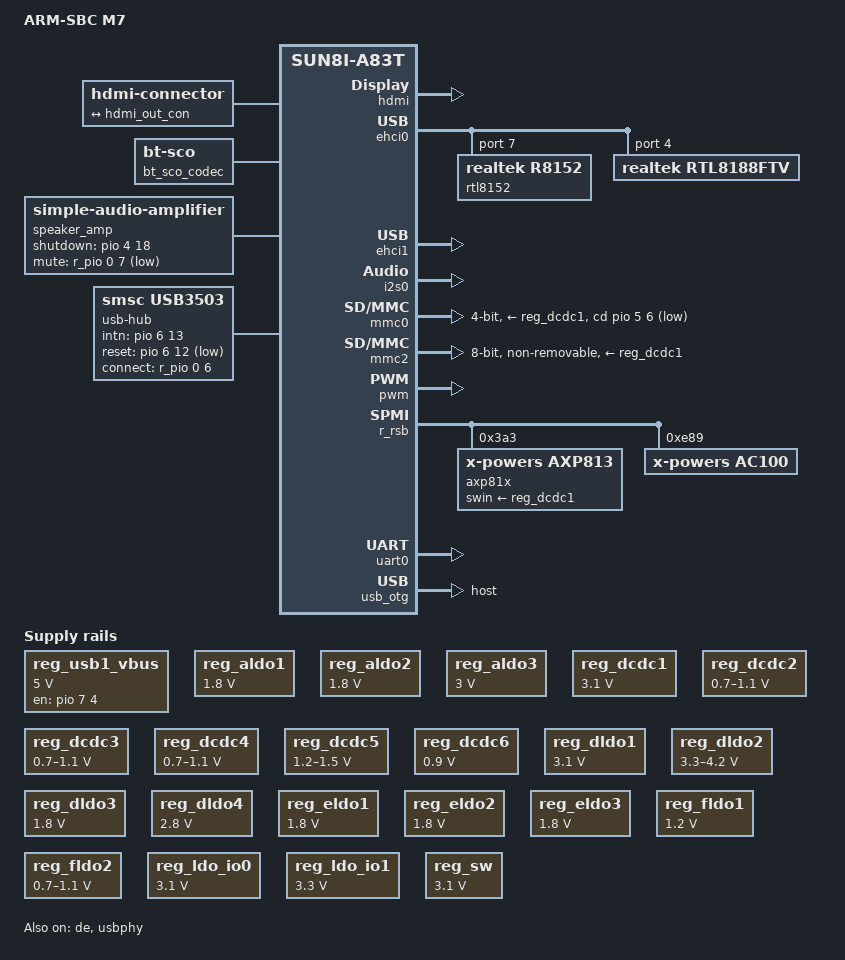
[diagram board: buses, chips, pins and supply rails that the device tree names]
/*
 * Copyright 2024 Subair Mullappilly
 *
 * Subair Mullappilly <msubair@hotmail.com>

 * This file is dual-licensed: you can use it either under the terms
 * of the GPL or the X11 license, at your option. Note that this dual
 * licensing only applies to this file, and not this project as a
 * whole.
 *
 *  a) This file is free software; you can redistribute it and/or
 *     modify it under the terms of the GNU General Public License as
 *     published by the Free Software Foundation; either version 2 of the
 *     License, or (at your option) any later version.
 *
 *     This file is distributed in the hope that it will be useful,
 *     but WITHOUT ANY WARRANTY; without even the implied warranty of
 *     MERCHANTABILITY or FITNESS FOR A PARTICULAR PURPOSE.  See the
 *     GNU General Public License for more details.
 *
 * Or, alternatively,
 *
 *  b) Permission is hereby granted, free of charge, to any person
 *     obtaining a copy of this software and associated documentation
 *     files (the "Software"), to deal in the Software without
 *     restriction, including without limitation the rights to use,
 *     copy, modify, merge, publish, distribute, sublicense, and/or
 *     sell copies of the Software, and to permit persons to whom the
 *     Software is furnished to do so, subject to the following
 *     conditions:
 *
 *     The above copyright notice and this permission notice shall be
 *     included in all copies or substantial portions of the Software.
 *
 *     THE SOFTWARE IS PROVIDED "AS IS", WITHOUT WARRANTY OF ANY KIND,
 *     EXPRESS OR IMPLIED, INCLUDING BUT NOT LIMITED TO THE WARRANTIES
 *     OF MERCHANTABILITY, FITNESS FOR A PARTICULAR PURPOSE AND
 *     NONINFRINGEMENT. IN NO EVENT SHALL THE AUTHORS OR COPYRIGHT
 *     HOLDERS BE LIABLE FOR ANY CLAIM, DAMAGES OR OTHER LIABILITY,
 *     WHETHER IN AN ACTION OF CONTRACT, TORT OR OTHERWISE, ARISING
 *     FROM, OUT OF OR IN CONNECTION WITH THE SOFTWARE OR THE USE OR
 *     OTHER DEALINGS IN THE SOFTWARE.
 */

/dts-v1/;
#include "sun8i-a83t.dtsi"

#include <dt-bindings/gpio/gpio.h>
#include <dt-bindings/pwm/pwm.h>
#include <dt-bindings/input/input.h>

/ {
	model = "ARM-SBC M7";
	compatible = "arm-sbc,m7", "allwinner,sun8i-a83t";

	aliases {
		serial0 = &uart0;
		ethernet0 = &rtl8152;
		mmc0 = &mmc0;
		mmc1 = &mmc2;
	};

	chosen {
		stdout-path = "serial0:115200n8";
	};

	connector {
		compatible = "hdmi-connector";
		type = "a";

		port {
			hdmi_con_in: endpoint {
				remote-endpoint = <&hdmi_out_con>;
			};
		};
	};

	bt_sco_codec: bt-sco-codec {
		#sound-dai-cells = <1>;
		compatible = "linux,bt-sco";
		sound-name-prefix = "Bluetooth";
	};

	speaker_amp: audio-amplifier {
		status = "okay";
		compatible = "simple-audio-amplifier";
		shutdown-gpios = <&pio 4 18 GPIO_ACTIVE_HIGH>; /*PE18 */
		mute-gpios = <&r_pio 0 7 GPIO_ACTIVE_LOW>; /* PL7*/
		sound-name-prefix = "Speaker Amp";
	};

	reg_usb1_vbus: reg-usb1-vbus {
		compatible = "regulator-fixed";
		regulator-name = "usb1-vbus";
		regulator-min-microvolt = <5000000>;
		regulator-max-microvolt = <5000000>;
		regulator-boot-on;
		enable-active-high;
		gpio = <&pio 7 4 GPIO_ACTIVE_HIGH>; /* PH4 */
	};

	usb-hub {
		compatible = "smsc,usb3503";
		initial-mode = <1>; /* initialize in HUB mode */
		//disabled-ports = <1>;
		intn-gpios = <&pio 6 13 GPIO_ACTIVE_HIGH>; /* PG13, assuming it's the interrupt pin */
		reset-gpios = <&pio 6 12 GPIO_ACTIVE_LOW>; /* PG12, for hub reset */
		connect-gpios = <&r_pio 0 6 GPIO_ACTIVE_HIGH>; /* PL6, assuming it's used for connectivity control */
		refclk-frequency = <19200000>; /* Reference clock frequency */
	};

	sound: sound {
		#address-cells = <1>;
		#size-cells = <0>;
		compatible = "simple-audio-card";
		simple-audio-card,name = "ac100-audio";
		simple-audio-card,aux-devs = <&ac100_codec_analog>;
		simple-audio-card,widgets = "Microphone", "Headset Microphone",
					    "Microphone", "Internal Microphone",
					    "Headphone", "Headphone Jack",
					    "Speaker", "Internal Speaker";
		simple-audio-card,routing =
				"Headphone Jack", "HP",
				"Left DAC", "DACL",
				"Right DAC", "DACR",
				"ADCL", "Left ADC",
				"ADCR", "Right ADC",
				"Internal Microphone", "MBIAS",
				"MIC1", "Internal Microphone",
				"Headset Microphone", "HBIAS",
				"MIC2", "Headset Microphone";

		simple-audio-card,dai-link@0 {
			format = "i2s";
			frame-master = <&link0_cpu>;
			bitclock-master = <&link0_cpu>;
			mclk-fs = <512>;

			link0_cpu: cpu {
				sound-dai = <&i2s0>;
			};

			link0_codec: codec {
				sound-dai = <&ac100_codec 0>;
			};
		};
	};
};

&ccu {
	/* Use a stable clock source with known fixed rate for MCLK */
	assigned-clocks = <&ccu CLK_CSI_MCLK>;
	assigned-clock-parents = <&osc24M>;
	assigned-clock-rates = <24000000>;
};

&cpu0 {
	cpu-supply = <&reg_dcdc2>;
};

&cpu100 {
	cpu-supply = <&reg_dcdc3>;
};

&de {
	status = "okay";
};

&hdmi {
	status = "okay";
	hvcc-supply = <&reg_dldo1>;
	#sound-dai-cells = <0>;
};

&hdmi_out {
	hdmi_out_con: endpoint {
		remote-endpoint = <&hdmi_con_in>;
	};
};

&ehci0 {
    status = "okay";
    #address-cells = <1>;
    #size-cells = <0>;
    rtl8152: device@7 {
        compatible = "realtek,r8152";
        reg = <7>;
    };

	rtl8188ftv: device@4 {
        compatible = "realtek,rtl8188ftv";
        reg = <4>;
    };
};

&ehci1 {
	status = "okay";
};

&i2s0 {
	status = "okay";
	pinctrl-names = "default";
	pinctrl-0 = <&i2s0_pins>;
};

&mmc0 {
	vmmc-supply = <&reg_dcdc1>;
	pinctrl-names = "default";
	pinctrl-0 = <&mmc0_pins>;
	bus-width = <4>;
	cd-gpios = <&pio 5 6 GPIO_ACTIVE_LOW>;
	status = "okay";
};

&mmc2 {
	pinctrl-0 = <&mmc2_8bit_emmc_pins>;
	pinctrl-names = "default";
	vmmc-supply = <&reg_dcdc1>;
	vqmmc-supply = <&reg_dcdc1>;
	bus-width = <8>;
	non-removable;
	cap-mmc-hw-reset;
	status = "okay";
};

&pwm {
	pinctrl-names = "default";
	pinctrl-0 = <&pwm_pin>;
	status = "okay";
};


&r_rsb {
	status = "okay";

	axp81x: pmic@3a3 {
		compatible = "x-powers,axp813";
		reg = <0x3a3>;
		interrupt-parent = <&r_intc>;
		interrupts = <GIC_SPI 32 IRQ_TYPE_LEVEL_LOW>;
		swin-supply = <&reg_dcdc1>;
		x-powers,drive-vbus-en;
	};

	ac100: codec@e89 {
		compatible = "x-powers,ac100";
		reg = <0xe89>;

		ac100_codec_analog: codec-analog {
			compatible = "x-powers,ac100-codec-analog";
			cpvdd-supply = <&reg_aldo2>;
		};

		ac100_codec: codec {
			#sound-dai-cells = <1>;
			compatible = "x-powers,ac100-codec";
			interrupt-parent = <&r_pio>;
			interrupts = <0 11 IRQ_TYPE_LEVEL_LOW>; /* PL11 */
			#clock-cells = <0>;
			clock-output-names = "4M_adda";

			LDOIN-supply = <&reg_aldo2>;
			AVCC-supply = <&reg_aldo3>;
			VDDIO1-supply = <&reg_aldo3>;
			VDDIO2-supply = <&reg_aldo3>;
		};

		ac100_rtc: rtc {
			compatible = "x-powers,ac100-rtc";
			interrupt-parent = <&r_intc>;
			interrupts = <GIC_SPI 32 IRQ_TYPE_LEVEL_LOW>;
			clocks = <&ac100_codec>;
			#clock-cells = <1>;
			clock-output-names = "cko1_rtc",
					     "cko2_rtc",
					     "cko3_rtc";
		};
	};

};

#include "axp81x.dtsi"

&battery_power_supply {
	status = "okay";
};

&reg_aldo1 {
	regulator-min-microvolt = <1800000>;
	regulator-max-microvolt = <1800000>;
	regulator-name = "vcc-1.8";
};

&reg_aldo2 {
	regulator-min-microvolt = <1800000>;
	regulator-max-microvolt = <1800000>;
	regulator-always-on;
	regulator-name = "vdd-drampll";
};

&reg_aldo3 {
	regulator-min-microvolt = <3000000>;
	regulator-max-microvolt = <3000000>;
	regulator-always-on;
	regulator-name = "avcc";
};

&reg_dcdc1 {
	regulator-min-microvolt = <3100000>;
	regulator-max-microvolt = <3100000>;
	regulator-always-on;
	regulator-name = "vcc-io";
};

&reg_dcdc2 {
	regulator-min-microvolt = <700000>;
	regulator-max-microvolt = <1100000>;
	regulator-always-on;
	regulator-name = "vdd-cpu-A";
};

&reg_dcdc3 {
	regulator-min-microvolt = <700000>;
	regulator-max-microvolt = <1100000>;
	regulator-always-on;
	regulator-name = "vdd-cpu-B";
};

&reg_dcdc4 {
	regulator-min-microvolt = <700000>;
	regulator-max-microvolt = <1100000>;
	regulator-name = "vdd-gpu";
};

&reg_dcdc5 {
	regulator-min-microvolt = <1200000>;
	regulator-max-microvolt = <1500000>;
	regulator-always-on;
	regulator-name = "vcc-dram";
};

&reg_dcdc6 {
	regulator-min-microvolt = <900000>;
	regulator-max-microvolt = <900000>;
	regulator-always-on;
	regulator-name = "vdd-sys";
};

&reg_dldo1 {
	regulator-min-microvolt = <3100000>;
	regulator-max-microvolt = <3100000>;
	regulator-name = "vcc-wifi-io";
};

&reg_dldo2 {
	regulator-min-microvolt = <3300000>;
	regulator-max-microvolt = <4200000>;
	regulator-name = "vbat-nfc";
	regulator-always-on;
};

&reg_dldo3 {
	regulator-min-microvolt = <1800000>;
	regulator-max-microvolt = <1800000>;
	regulator-name = "vdd-csi";
};

&reg_dldo4 {
	regulator-min-microvolt = <2800000>;
	regulator-max-microvolt = <2800000>;
	regulator-name = "avdd-csi";
};

&reg_drivevbus {
	regulator-name = "usb0-vbus";
	status = "okay";
};

&reg_eldo1 {
	regulator-min-microvolt = <1800000>;
	regulator-max-microvolt = <1800000>;
	regulator-name = "pvdd-nfc";
	regulator-always-on;
};

&reg_eldo2 {
	regulator-min-microvolt = <1800000>;
	regulator-max-microvolt = <1800000>;
	regulator-name = "vcc-dsi";
};

&reg_eldo3 {
	regulator-min-microvolt = <1800000>;
	regulator-max-microvolt = <1800000>;
	regulator-name = "dvdd-csi-f";
};

&reg_fldo1 {
	regulator-min-microvolt = <1200000>;
	regulator-max-microvolt = <1200000>;
	regulator-name = "vcc-hsic";
};

&reg_fldo2 {
	regulator-min-microvolt = <700000>;
	regulator-max-microvolt = <1100000>;
	regulator-always-on;
	regulator-name = "vdd-cpus";
};

&reg_ldo_io0 {
	regulator-min-microvolt = <3100000>;
	regulator-max-microvolt = <3100000>;
	regulator-name = "vcc-ctp";
	status = "okay";
};

&reg_ldo_io1 {
	regulator-min-microvolt = <3300000>;
	regulator-max-microvolt = <3300000>;
	regulator-name = "vcc-vb";
	status = "okay";
};

&reg_sw {
	regulator-min-microvolt = <3100000>;
	regulator-max-microvolt = <3100000>;
	regulator-name = "vcc-lcd";
};

&sound_hdmi {
	status = "okay";
};

&uart0 {
	pinctrl-names = "default";
	pinctrl-0 = <&uart0_pb_pins>;
	status = "okay";
};

&usb_otg {
	status = "okay";
	dr_mode = "host";
};

&usbphy {
	usb0_id_det-gpios = <&pio 7 11 GPIO_ACTIVE_HIGH>; /* PH11 */
	usb0_vbus_power-supply = <&usb_power_supply>;
	usb0_vbus-supply = <&reg_drivevbus>;
	usb1_vbus-supply = <&reg_usb1_vbus>;
	status = "okay";
};
